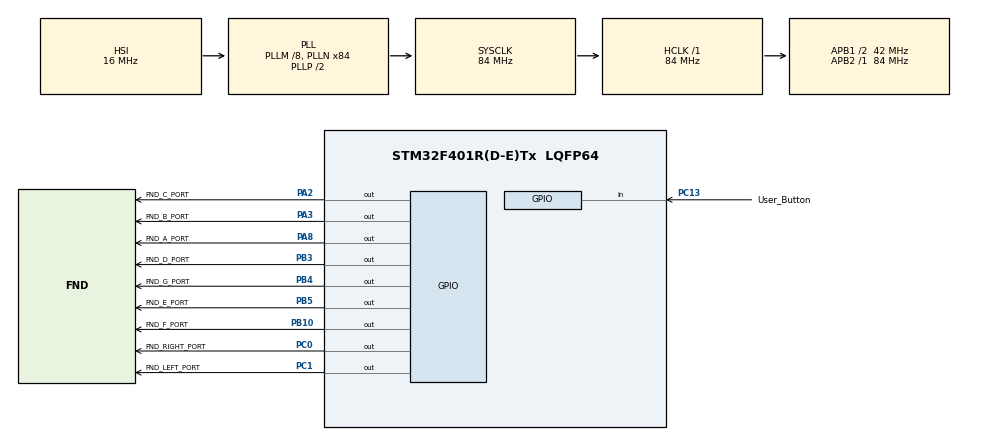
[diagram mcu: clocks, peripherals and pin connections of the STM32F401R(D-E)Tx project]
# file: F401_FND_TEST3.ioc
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Mcu.Family=STM32F4
Mcu.Name=STM32F401R(D-E)Tx
Mcu.Package=LQFP64
NVIC.PriorityGroup=NVIC_PRIORITYGROUP_4
PA13.Mode=Serial_Wire
PA13.Signal=SYS_JTMS-SWDIO
PA14.Mode=Serial_Wire
PA14.Signal=SYS_JTCK-SWCLK
PA2.GPIO_Label=FND_C_PORT
PA2.PinState=GPIO_PIN_SET
PA2.Signal=GPIO_Output
PA3.GPIO_Label=FND_B_PORT
PA3.PinState=GPIO_PIN_SET
PA3.Signal=GPIO_Output
PA8.GPIO_Label=FND_A_PORT
PA8.PinState=GPIO_PIN_SET
PA8.Signal=GPIO_Output
PB10.GPIO_Label=FND_F_PORT
PB10.PinState=GPIO_PIN_SET
PB10.Signal=GPIO_Output
PB3.GPIO_Label=FND_D_PORT
PB3.PinState=GPIO_PIN_SET
PB3.Signal=GPIO_Output
PB4.GPIO_Label=FND_G_PORT
PB4.PinState=GPIO_PIN_SET
PB4.Signal=GPIO_Output
PB5.GPIO_Label=FND_E_PORT
PB5.PinState=GPIO_PIN_SET
PB5.Signal=GPIO_Output
PC0.GPIO_Label=FND_RIGHT_PORT
PC0.Signal=GPIO_Output
PC1.GPIO_Label=FND_LEFT_PORT
PC1.Signal=GPIO_Output
PC13-ANTI_TAMP.GPIO_Label=User_Button
PC13-ANTI_TAMP.Signal=GPIO_Input
ProjectManager.HeapSize=0x200
ProjectManager.StackSize=0x400
ProjectManager.TargetToolchain=STM32CubeIDE
RCC.48MHZClocksFreq_Value=42000000
RCC.AHBFreq_Value=84000000
RCC.APB1CLKDivider=RCC_HCLK_DIV2
RCC.APB1Freq_Value=42000000
RCC.APB1TimFreq_Value=84000000
RCC.APB2Freq_Value=84000000
RCC.APB2TimFreq_Value=84000000
RCC.CortexFreq_Value=84000000
RCC.HCLKFreq_Value=84000000
RCC.HSE_VALUE=25000000
RCC.HSI_VALUE=16000000
RCC.LSE_VALUE=32768
RCC.PLLM=8
RCC.PLLN=84
RCC.SYSCLKFreq_VALUE=84000000
RCC.SYSCLKSource=RCC_SYSCLKSOURCE_PLLCLK
RCC.VCOOutputFreq_Value=168000000
board=custom

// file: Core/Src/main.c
/* USER CODE BEGIN Header */
/**
  ******************************************************************************
  * @file           : main.c
  * @brief          : Main program body
  ******************************************************************************
  * @attention
  *
  * <h2><center>&copy; Copyright (c) 2021 STMicroelectronics.
  * All rights reserved.</center></h2>
  *
  * This software component is licensed by ST under BSD 3-Clause license,
  * the "License"; You may not use this file except in compliance with the
  * License. You may obtain a copy of the License at:
  *                        opensource.org/licenses/BSD-3-Clause
  *
  ******************************************************************************
  */
/* USER CODE END Header */
#include "main.h"

void SystemClock_Config(void);
static void MX_GPIO_Init(void);

/* USER CODE BEGIN 0 */
#define	FND_COM_RIGHT_CLEAR		HAL_GPIO_WritePin(GPIOC, FND_RIGHT_PORT_Pin, GPIO_PIN_RESET); \
								HAL_GPIO_WritePin(GPIOC, FND_LEFT_PORT_Pin, GPIO_PIN_SET);

#define	FND_COM_LEFT_CLEAR		HAL_GPIO_WritePin(GPIOC, FND_LEFT_PORT_Pin, GPIO_PIN_RESET); \
								HAL_GPIO_WritePin(GPIOC, FND_RIGHT_PORT_Pin, GPIO_PIN_SET);

#define FND_SEG_NUM0_DISP	  HAL_GPIO_WritePin(GPIOA, FND_C_PORT_Pin|FND_B_PORT_Pin|FND_A_PORT_Pin, GPIO_PIN_RESET); \
						      HAL_GPIO_WritePin(GPIOB, FND_F_PORT_Pin|FND_D_PORT_Pin|FND_E_PORT_Pin, GPIO_PIN_RESET); \
							  HAL_GPIO_WritePin(GPIOB, FND_G_PORT_Pin, GPIO_PIN_SET);

#define FND_SEG_NUM1_DISP	  HAL_GPIO_WritePin(GPIOA, FND_B_PORT_Pin|FND_C_PORT_Pin, GPIO_PIN_RESET); \
							  HAL_GPIO_WritePin(GPIOA, FND_A_PORT_Pin, GPIO_PIN_SET); \
							  HAL_GPIO_WritePin(GPIOB, FND_F_PORT_Pin|FND_D_PORT_Pin|FND_G_PORT_Pin|FND_E_PORT_Pin, GPIO_PIN_SET);

#define FND_SEG_NUM2_DISP	  HAL_GPIO_WritePin(GPIOA, FND_B_PORT_Pin|FND_A_PORT_Pin, GPIO_PIN_RESET); \
						      HAL_GPIO_WritePin(GPIOB, FND_D_PORT_Pin|FND_G_PORT_Pin|FND_E_PORT_Pin, GPIO_PIN_RESET); \
						      HAL_GPIO_WritePin(GPIOA, FND_C_PORT_Pin, GPIO_PIN_SET); \
						      HAL_GPIO_WritePin(GPIOB, FND_F_PORT_Pin, GPIO_PIN_SET);

#define FND_SEG_NUM3_DISP	  HAL_GPIO_WritePin(GPIOA, FND_C_PORT_Pin|FND_B_PORT_Pin|FND_A_PORT_Pin, GPIO_PIN_RESET); \
						      HAL_GPIO_WritePin(GPIOB, FND_D_PORT_Pin|FND_G_PORT_Pin, GPIO_PIN_RESET); \
						      HAL_GPIO_WritePin(GPIOB, FND_F_PORT_Pin|FND_E_PORT_Pin, GPIO_PIN_SET);

#define FND_SEG_NUM4_DISP	  HAL_GPIO_WritePin(GPIOA, FND_C_PORT_Pin|FND_B_PORT_Pin, GPIO_PIN_RESET); \
						      HAL_GPIO_WritePin(GPIOB, FND_F_PORT_Pin|FND_G_PORT_Pin, GPIO_PIN_RESET); \
						      HAL_GPIO_WritePin(GPIOA, FND_A_PORT_Pin, GPIO_PIN_SET); \
						      HAL_GPIO_WritePin(GPIOB, FND_E_PORT_Pin|FND_D_PORT_Pin, GPIO_PIN_SET);

#define FND_SEG_NUM5_DISP	  HAL_GPIO_WritePin(GPIOA, FND_C_PORT_Pin|FND_A_PORT_Pin, GPIO_PIN_RESET); \
						      HAL_GPIO_WritePin(GPIOB, FND_F_PORT_Pin|FND_D_PORT_Pin|FND_G_PORT_Pin, GPIO_PIN_RESET); \
						      HAL_GPIO_WritePin(GPIOB, FND_E_PORT_Pin, GPIO_PIN_SET); \
						      HAL_GPIO_WritePin(GPIOA, FND_B_PORT_Pin, GPIO_PIN_SET);

#define FND_SEG_NUM6_DISP	  HAL_GPIO_WritePin(GPIOA, FND_C_PORT_Pin|FND_A_PORT_Pin, GPIO_PIN_RESET); \
						      HAL_GPIO_WritePin(GPIOB, FND_F_PORT_Pin|FND_D_PORT_Pin|FND_G_PORT_Pin|FND_E_PORT_Pin, GPIO_PIN_RESET); \
						      HAL_GPIO_WritePin(GPIOA, FND_B_PORT_Pin, GPIO_PIN_SET);

#define FND_SEG_NUM7_DISP	  HAL_GPIO_WritePin(GPIOA, FND_C_PORT_Pin|FND_B_PORT_Pin|FND_A_PORT_Pin, GPIO_PIN_RESET); \
						      HAL_GPIO_WritePin(GPIOB, FND_F_PORT_Pin, GPIO_PIN_RESET); \
						      HAL_GPIO_WritePin(GPIOB, FND_D_PORT_Pin|FND_G_PORT_Pin|FND_E_PORT_Pin, GPIO_PIN_SET); \

#define FND_SEG_NUM8_DISP	  HAL_GPIO_WritePin(GPIOA, FND_C_PORT_Pin|FND_B_PORT_Pin|FND_A_PORT_Pin, GPIO_PIN_RESET); \
						      HAL_GPIO_WritePin(GPIOB, FND_F_PORT_Pin|FND_D_PORT_Pin|FND_G_PORT_Pin|FND_E_PORT_Pin, GPIO_PIN_RESET);

#define FND_SEG_NUM9_DISP	  HAL_GPIO_WritePin(GPIOA, FND_C_PORT_Pin|FND_B_PORT_Pin|FND_A_PORT_Pin, GPIO_PIN_RESET); \
						      HAL_GPIO_WritePin(GPIOB, FND_F_PORT_Pin|FND_G_PORT_Pin|FND_D_PORT_Pin, GPIO_PIN_RESET); \
						      HAL_GPIO_WritePin(GPIOB, FND_E_PORT_Pin, GPIO_PIN_SET);
/* USER CODE END 0 */

int main(void)
{
  /* USER CODE BEGIN 1 */
unsigned char button_count = 0;
unsigned char Fnd_Count = 0;
unsigned char disp10 = 0;
unsigned char disp1 = 0;
unsigned char roop = 0;
unsigned char Mull = 2;
unsigned char Fnd_number = 0;
  /* USER CODE END 1 */

  /* MCU Configuration--------------------------------------------------------*/

  /* Reset of all peripherals, Initializes the Flash interface and the Systick. */
  HAL_Init();

  /* Configure the system clock */
  SystemClock_Config();

  /* Initialize all configured peripherals */
  MX_GPIO_Init();

  /* Infinite loop */
  while (1)
  {

    /* USER CODE BEGIN 3 */
	  if(HAL_GPIO_ReadPin(GPIOC, GPIO_PIN_13)==0)
		  {
			  button_count = 1;
			  HAL_Delay(1);
		  }

	  else if(HAL_GPIO_ReadPin(GPIOC, GPIO_PIN_13)==1)
		  {
		  	  if(button_count == 1)
		  	  {
		  		  Fnd_Count++;
		  	  }
			  if(Fnd_Count == 10)
			  {
				  Fnd_Count = Fnd_Count/10;
				  Mull++;

				  if(Mull == 10)
				  {
					  Mull = 2;
				  }
			  }

		  	  Fnd_number = Mull*Fnd_Count;
			  disp10 = Fnd_number / 10;
			  disp1 = Fnd_number % 10;

			  button_count = 0;
		  }

		  for(roop = 0; roop <= 25; roop++)
		  {
				  {
					 FND_COM_RIGHT_CLEAR
					  if(disp10 == 0)
					  {
						  FND_SEG_NUM0_DISP
					  }

					  else if(disp10 == 1)
					  {
						  FND_SEG_NUM1_DISP
					  }

					  else if(disp10 == 2)
					  {
						  FND_SEG_NUM2_DISP
					  }

					  else if(disp10 == 3)
					  {
						  FND_SEG_NUM3_DISP
					  }

					  else if(disp10 == 4)
					  {
						  FND_SEG_NUM4_DISP
					  }

					  else if(disp10 == 5)
					  {
						  FND_SEG_NUM5_DISP
					  }

					  else if(disp10 == 6)
					  {
						  FND_SEG_NUM6_DISP
					  }

					  else if(disp10 == 7)
					  {
						  FND_SEG_NUM7_DISP
					  }

					  else if(disp10 == 8)
					  {
						  FND_SEG_NUM8_DISP
					  }

					  else if(disp10 == 9)
					  {
						  FND_SEG_NUM9_DISP
					  }
					  HAL_Delay(0.1);
				  }
				  {
					 FND_COM_LEFT_CLEAR
					  if(disp1 == 0)
					  {
						  FND_SEG_NUM0_DISP
					  }

					  else if(disp1 == 1)
					  {
						  FND_SEG_NUM1_DISP
					  }

					  else if(disp1 == 2)
					  {
						  FND_SEG_NUM2_DISP
					  }

					  else if(disp1 == 3)
					  {
						  FND_SEG_NUM3_DISP
					  }

					  else if(disp1 == 4)
					  {
						  FND_SEG_NUM4_DISP
					  }

					  else if(disp1 == 5)
					  {
						  FND_SEG_NUM5_DISP
					  }

					  else if(disp1 == 6)
					  {
						  FND_SEG_NUM6_DISP
					  }

					  else if(disp1 == 7)
					  {
						  FND_SEG_NUM7_DISP
					  }

					  else if(disp1 == 8)
					  {
						  FND_SEG_NUM8_DISP
					  }

					  else if(disp1 == 9)
					  {
						  FND_SEG_NUM9_DISP
					  }
					  HAL_Delay(0.1);
				  }
		  }
  }
  /* USER CODE END 3 */
}

void SystemClock_Config(void)
{
  RCC_OscInitTypeDef RCC_OscInitStruct = {0};
  RCC_ClkInitTypeDef RCC_ClkInitStruct = {0};

  /** Configure the main internal regulator output voltage
  */
  __HAL_RCC_PWR_CLK_ENABLE();
  __HAL_PWR_VOLTAGESCALING_CONFIG(PWR_REGULATOR_VOLTAGE_SCALE2);
  /** Initializes the RCC Oscillators according to the specified parameters
  * in the RCC_OscInitTypeDef structure.
  */
  RCC_OscInitStruct.OscillatorType = RCC_OSCILLATORTYPE_HSI;
  RCC_OscInitStruct.HSIState = RCC_HSI_ON;
  RCC_OscInitStruct.HSICalibrationValue = RCC_HSICALIBRATION_DEFAULT;
  RCC_OscInitStruct.PLL.PLLState = RCC_PLL_ON;
  RCC_OscInitStruct.PLL.PLLSource = RCC_PLLSOURCE_HSI;
  RCC_OscInitStruct.PLL.PLLM = 8;
  RCC_OscInitStruct.PLL.PLLN = 84;
  RCC_OscInitStruct.PLL.PLLP = RCC_PLLP_DIV2;
  RCC_OscInitStruct.PLL.PLLQ = 4;
  if (HAL_RCC_OscConfig(&RCC_OscInitStruct) != HAL_OK)
  {
    Error_Handler();
  }
  /** Initializes the CPU, AHB and APB buses clocks
  */
  RCC_ClkInitStruct.ClockType = RCC_CLOCKTYPE_HCLK|RCC_CLOCKTYPE_SYSCLK
                              |RCC_CLOCKTYPE_PCLK1|RCC_CLOCKTYPE_PCLK2;
  RCC_ClkInitStruct.SYSCLKSource = RCC_SYSCLKSOURCE_PLLCLK;
  RCC_ClkInitStruct.AHBCLKDivider = RCC_SYSCLK_DIV1;
  RCC_ClkInitStruct.APB1CLKDivider = RCC_HCLK_DIV2;
  RCC_ClkInitStruct.APB2CLKDivider = RCC_HCLK_DIV1;

  if (HAL_RCC_ClockConfig(&RCC_ClkInitStruct, FLASH_LATENCY_2) != HAL_OK)
  {
    Error_Handler();
  }
}

static void MX_GPIO_Init(void)
{
  GPIO_InitTypeDef GPIO_InitStruct = {0};

  /* GPIO Ports Clock Enable */
  __HAL_RCC_GPIOC_CLK_ENABLE();
  __HAL_RCC_GPIOA_CLK_ENABLE();
  __HAL_RCC_GPIOB_CLK_ENABLE();

  /*Configure GPIO pin Output Level */
  HAL_GPIO_WritePin(GPIOC, FND_RIGHT_PORT_Pin|FND_LEFT_PORT_Pin, GPIO_PIN_RESET);

  /*Configure GPIO pin Output Level */
  HAL_GPIO_WritePin(GPIOA, FND_C_PORT_Pin|FND_B_PORT_Pin|FND_A_PORT_Pin, GPIO_PIN_SET);

  /*Configure GPIO pin Output Level */
  HAL_GPIO_WritePin(GPIOB, FND_F_PORT_Pin|FND_D_PORT_Pin|FND_G_PORT_Pin|FND_E_PORT_Pin, GPIO_PIN_SET);

  /*Configure GPIO pin : User_Button_Pin */
  GPIO_InitStruct.Pin = User_Button_Pin;
  GPIO_InitStruct.Mode = GPIO_MODE_INPUT;
  GPIO_InitStruct.Pull = GPIO_NOPULL;
  HAL_GPIO_Init(User_Button_GPIO_Port, &GPIO_InitStruct);

  /*Configure GPIO pins : FND_RIGHT_PORT_Pin FND_LEFT_PORT_Pin */
  GPIO_InitStruct.Pin = FND_RIGHT_PORT_Pin|FND_LEFT_PORT_Pin;
  GPIO_InitStruct.Mode = GPIO_MODE_OUTPUT_PP;
  GPIO_InitStruct.Pull = GPIO_NOPULL;
  GPIO_InitStruct.Speed = GPIO_SPEED_FREQ_LOW;
  HAL_GPIO_Init(GPIOC, &GPIO_InitStruct);

  /*Configure GPIO pins : FND_C_PORT_Pin FND_B_PORT_Pin FND_A_PORT_Pin */
  GPIO_InitStruct.Pin = FND_C_PORT_Pin|FND_B_PORT_Pin|FND_A_PORT_Pin;
  GPIO_InitStruct.Mode = GPIO_MODE_OUTPUT_PP;
  GPIO_InitStruct.Pull = GPIO_NOPULL;
  GPIO_InitStruct.Speed = GPIO_SPEED_FREQ_LOW;
  HAL_GPIO_Init(GPIOA, &GPIO_InitStruct);

  /*Configure GPIO pins : FND_F_PORT_Pin FND_D_PORT_Pin FND_G_PORT_Pin FND_E_PORT_Pin */
  GPIO_InitStruct.Pin = FND_F_PORT_Pin|FND_D_PORT_Pin|FND_G_PORT_Pin|FND_E_PORT_Pin;
  GPIO_InitStruct.Mode = GPIO_MODE_OUTPUT_PP;
  GPIO_InitStruct.Pull = GPIO_NOPULL;
  GPIO_InitStruct.Speed = GPIO_SPEED_FREQ_LOW;
  HAL_GPIO_Init(GPIOB, &GPIO_InitStruct);

}

void Error_Handler(void)
{
  __disable_irq();
  while (1)
  {
  }
}

/************************ (C) COPYRIGHT STMicroelectronics *****END OF FILE****/
